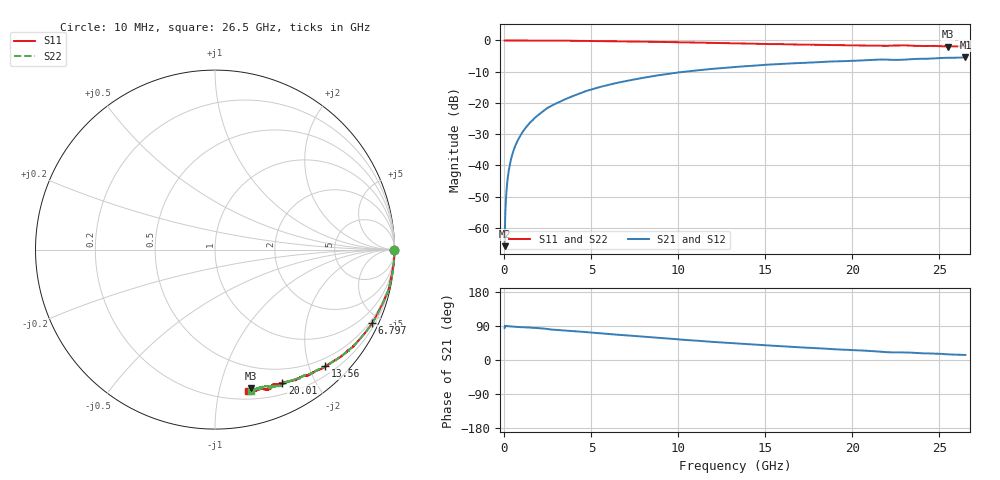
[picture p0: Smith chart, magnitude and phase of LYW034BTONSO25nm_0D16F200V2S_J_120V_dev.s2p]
!Keysight Technologies,N5222B,MY61253708,A.15.00.15
!Date: Wednesday, June 19, 2024 09:49:52
!Correction: S11(C  2-Port  )
!S21(C  2-Port  )
!S12(C  2-Port  )
!S22(C  2-Port  )
!S2P File: Measurements: S11, S21, S12, S22:
# Hz S  RI  R 50
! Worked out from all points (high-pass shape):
!   2651 points, 10 MHz to 26.5 GHz, reference 50 ohm
!   highest |S21| = -5.39 dB at 26.5 GHz (marker M1); lowest = -65.9 dB at 10 MHz (marker M2)
!   |S21| within 3 dB of the highest: 13.45921 GHz to 13.48447 GHz (25.26 MHz wide, 0.187 % of centre); 13.51 GHz to end of sweep
!   lowest |S11| = -2.0 dB at 25.5 GHz (marker M3), VSWR 8.92, Z = 14.7 - j62.5 ohm
!   |S11| at or under -10 dB: nowhere
!   |S22| runs from -1.9 to 0.0 dB; largest |S21 - S12| = 0.0062
!   S11 on the Smith chart (normalised r, x): 10 MHz: open; 6.797 GHz: 0.36, -4.49; 13.56 GHz: 0.35, -2.28; 20.01 GHz: 0.33, -1.58; 26.5 GHz: 0.27, -1.22
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1e7  0.9985 -0.0029  4.9e-05 0.000507  0.000203 0.000703  0.9986 -0.00149
7.997358e7  1 -0.00573  7.01e-06 0.00264  2.04e-05 0.00263  0.9993 -0.00521
1.699396e8  0.9999 -0.0118  6.42e-05 0.00563  6.29e-05 0.00565  0.9997 -0.011
2.199208e8  0.9999 -0.015  0.000117 0.0073  0.000113 0.00732  0.9993 -0.0141
2.898943e8  0.9998 -0.0199  0.000222 0.0096  0.00018 0.00963  0.9996 -0.019
3.998528e8  0.9993 -0.0273  0.000367 0.0132  0.00034 0.0133  0.9994 -0.0261
5.398e8  0.9991 -0.036  0.000646 0.0178  0.000653 0.018  0.9987 -0.035
8.896679e8  0.9978 -0.0594  0.00165 0.0291  0.00167 0.0294  0.9971 -0.0578
1.459453e9  0.9908 -0.098  0.00358 0.048  0.00363 0.0483  0.9931 -0.0935
2.349117e9  0.982 -0.1527  0.0101 0.078  0.0103 0.0787  0.9833 -0.1521
3.208792e9  0.9709 -0.2075  0.021 0.1036  0.0212 0.1043  0.9715 -0.2055
4.428332e9  0.9427 -0.2803  0.0381 0.1411  0.0386 0.142  0.945 -0.2763
6.797438e9  0.8763 -0.4075  0.0901 0.1992  0.0913 0.1999  0.8787 -0.4051
8.846664e9  0.8035 -0.502  0.1443 0.2363  0.1458 0.237  0.8065 -0.4985
1.3255e10  0.6274 -0.6422  0.2713 0.2609  0.2736 0.2606  0.634 -0.639
1.356488e10  0.6144 -0.6504  0.2794 0.2603  0.282 0.26  0.6205 -0.6477
1.767333e10  0.4554 -0.7218  0.3777 0.2336  0.381 0.2318  0.4695 -0.718
2.001245e10  0.3759 -0.7411  0.4235 0.2079  0.4267 0.205  0.3927 -0.7401
2.209166e10  0.3199 -0.7547  0.4607 0.1717  0.4624 0.1687  0.318 -0.7605
2.308129e10  0.2915 -0.7824  0.4655 0.1677  0.4664 0.1666  0.2954 -0.7633
2.550038e10  0.201 -0.7727  0.5099 0.1353  0.5113 0.1347  0.2252 -0.7756
2.65e10  0.1816 -0.7863  0.5233 0.124  0.5228 0.1201  0.1987 -0.7853
